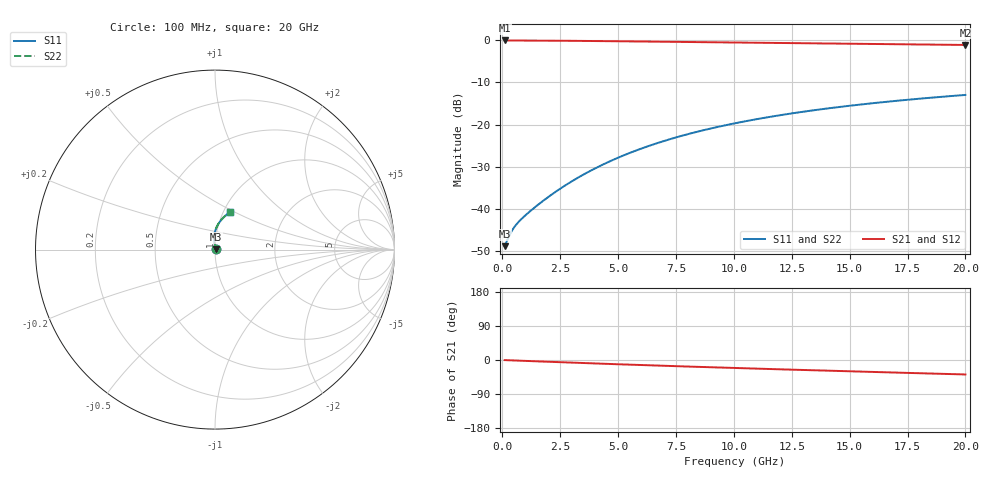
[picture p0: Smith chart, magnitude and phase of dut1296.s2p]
! Touchstone file exported from HFSS 2024.1.0
!  File:  C:/UserFiles/LocalFiles/RDL_TSV_Batchsim/temp_RDL_top_1296_1780243106.aedt
!  Generated:  12:00:29 AM Jun  1, 2026
!  Design:  RDL_top
!  Project:  temp_RDL_top_1296_1780243106
!  Setup:  Setup1
!  Solution:  Sweep
! Variables:
!  dtsv = 10.80580581um
!  hbump = 3um
!  htsv = 98.43um
!  ldown = 100um
!  lrdl = 623.22um
!  p = 40
!  p1 = 41.93um
!  rhole = 1um
!  t = 450um
!  tdown = 3.915915916um
!  trdl = 2.43um
!  wdown = 15.38538539um
!  wrdl = 29.46um
# GHz S MA R 50.000000
! Terminal data exported
! Port[1] = Box2_T1
! Port[2] = Box2_T2
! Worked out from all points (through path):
!   200 points, 100 MHz to 20 GHz, reference 50 ohm
!   highest |S21| = -0.03 dB at 100 MHz (marker M1); lowest = -1.1 dB at 20 GHz (marker M2)
!   group delay of S21, straight-line fit = 5.22 ps
!   lowest |S11| = -48.9 dB at 100 MHz (marker M3), VSWR 1.01, Z = 50.3 + j0.103 ohm
!   |S11| at or under -10 dB: start of sweep to end of sweep
!   |S22| runs from -48.9 to -13.0 dB; largest |S21 - S12| = 4.2e-15
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0.1  0.003596 16.5  0.9965 -0.3  0.9965 -0.3  0.003596 16.5
! Gamma 0 0 0 0
! Port Impedance 50 0 50 0
0.3  0.004777 35.5  0.996 -0.8  0.996 -0.8  0.004777 35.5
0.4  0.005394 40.3  0.9956 -1.0  0.9956 -1.0  0.005394 40.3
0.5  0.005958 43.9  0.9953 -1.2  0.9953 -1.2  0.005958 43.9
0.7  0.006962 49.8  0.9948 -1.7  0.9948 -1.7  0.006963 49.8
1  0.008373 57.5  0.994 -2.4  0.994 -2.4  0.008374 57.5
1.6  0.01147 70.2  0.9923 -3.8  0.9923 -3.8  0.01147 70.2
2.2  0.0152 79.2  0.9902 -5.1  0.9902 -5.1  0.0152 79.2
2.8  0.01956 85.5  0.9877 -6.5  0.9877 -6.5  0.01956 85.5
3.5  0.02543 90.2  0.9841 -8.0  0.9841 -8.0  0.02543 90.3
4.3  0.03304 93.4  0.9795 -9.8  0.9795 -9.8  0.03305 93.4
5.1  0.04149 94.9  0.9745 -11.5  0.9745 -11.5  0.0415 95.0
5.9  0.05062 95.3  0.9691 -13.1  0.9691 -13.1  0.05064 95.3
6.8  0.0615 94.8  0.9629 -14.9  0.9629 -14.9  0.06154 94.9
7.6  0.07158 93.9  0.9573 -16.5  0.9573 -16.5  0.07163 93.9
8.4  0.0819 92.6  0.9517 -18.0  0.9517 -18.0  0.08196 92.7
10.1  0.1042 89.3  0.9401 -21.2  0.9401 -21.2  0.1043 89.4
11.7  0.1252 85.8  0.9297 -24.1  0.9297 -24.1  0.1254 85.9
13.4  0.1472 82.0  0.919 -27.1  0.919 -27.1  0.1473 82.1
15  0.1672 78.4  0.9094 -29.8  0.9094 -29.8  0.1673 78.5
16.7  0.1876 74.7  0.8996 -32.7  0.8996 -32.7  0.1878 74.8
20  0.2246 67.9  0.8815 -38.2  0.8815 -38.2  0.2248 67.9
